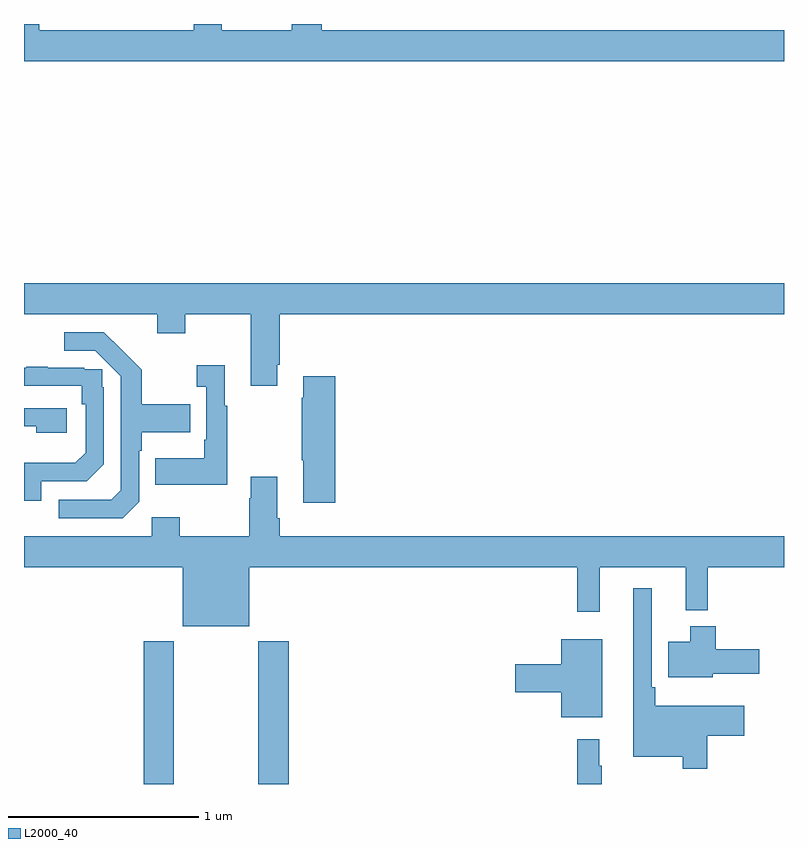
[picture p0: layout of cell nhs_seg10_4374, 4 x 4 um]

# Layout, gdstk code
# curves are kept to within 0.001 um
import gdstk
lib = gdstk.Library(unit=1e-6, precision=1e-09)
def R(c, l, rs):  # rectangles x0, y0, x1, y1
    for r in rs: c.add(gdstk.rectangle(r[:2], r[2:], *l))
def P(c, l, *ps):  # polygons
    for p in ps: c.add(gdstk.Polygon(p, *l))
L2000_40 = (2000, 40)

nhs_seg10_4374 = lib.new_cell('nhs_seg10_4374')
R(nhs_seg10_4374, L2000_40, [(357.629,1308.5,357.789,1309.252), (358.234,1308.5,358.394,1309.252)])
P(nhs_seg10_4374, L2000_40, [(361,1312.468),(358.568,1312.468),(358.568,1312.5),(358.408,1312.5),(358.408,1312.468),(358.041,1312.468),(358.041,1312.5),(357.894,1312.5),(357.894,1312.468),(357.081,1312.468),(357.081,1312.5),(357,1312.5),(357,1312.304),(361,1312.304)],
  [(358.333,1310.707),(358.346,1310.707),(358.346,1310.972),(361,1310.972),(361,1311.136),(357,1311.136),(357,1310.972),(357.701,1310.972),(357.701,1310.873),(357.849,1310.873),(357.849,1310.972),(358.193,1310.972),(358.193,1310.595),(358.333,1310.595)],
  [(357.606,1309.986),(357.606,1310.255),(357.619,1310.255),(357.619,1310.351),(357.875,1310.351),(357.875,1310.499),(357.619,1310.499),(357.619,1310.681),(357.421,1310.877),(357.213,1310.877),(357.213,1310.781),(357.374,1310.781),(357.51,1310.645),(357.51,1310.046),(357.459,1309.995),(357.183,1309.995),(357.183,1309.899),(357.519,1309.899)],
  [(358.069,1310.491),(358.057,1310.491),(358.057,1310.704),(357.909,1310.704),(357.909,1310.591),(357.96,1310.591),(357.96,1310.311),(357.948,1310.311),(357.948,1310.215),(357.691,1310.215),(357.691,1310.075),(358.069,1310.075)],
  [(357.09,1310.094),(357.33,1310.094),(357.42,1310.184),(357.42,1310.588),(357.413,1310.588),(357.413,1310.684),(357.317,1310.684),(357.317,1310.691),(357.125,1310.691),(357.125,1310.696),(357.013,1310.696),(357.013,1310.691),(357,1310.691),(357,1310.595),(357.304,1310.595),(357.304,1310.498),(357.324,1310.498),(357.324,1310.244),(357.271,1310.191),(357,1310.191),(357,1309.992),(357.09,1309.992)],
  [(358.637,1310.647),(358.469,1310.647),(358.469,1310.534),(358.462,1310.534),(358.462,1310.203),(358.469,1310.203),(358.469,1309.98),(358.637,1309.98)],
  [(357.226,1310.478),(357,1310.478),(357,1310.382),(357.065,1310.382),(357.065,1310.348),(357.226,1310.348)],
  [(358.186,1309.64),(359.911,1309.64),(359.911,1309.407),(360.029,1309.407),(360.029,1309.64),(360.482,1309.64),(360.482,1309.415),(360.599,1309.415),(360.599,1309.64),(361,1309.64),(361,1309.804),(358.346,1309.804),(358.346,1309.9),(358.333,1309.9),(358.333,1310.116),(358.193,1310.116),(358.193,1310.003),(358.186,1310.003),(358.186,1309.804),(357.819,1309.804),(357.819,1309.903),(357.672,1309.903),(357.672,1309.804),(357,1309.804),(357,1309.64),(357.836,1309.64),(357.836,1309.331),(358.186,1309.331)],
  [(360.596,1308.755),(360.79,1308.755),(360.79,1308.913),(360.323,1308.913),(360.323,1309.009),(360.303,1309.009),(360.303,1309.531),(360.206,1309.531),(360.206,1308.644),(360.468,1308.644),(360.468,1308.579),(360.596,1308.579)],
  [(360.624,1309.079),(360.871,1309.079),(360.871,1309.209),(360.641,1309.209),(360.641,1309.33),(360.506,1309.33),(360.506,1309.249),(360.392,1309.249),(360.392,1309.061),(360.624,1309.061)],
  [(360.043,1309.261),(359.828,1309.261),(359.828,1309.13),(359.586,1309.13),(359.586,1308.983),(359.828,1308.983),(359.828,1308.851),(360.043,1308.851)],
  [(360.04,1308.596),(360.028,1308.596),(360.028,1308.736),(359.911,1308.736),(359.911,1308.5),(360.04,1308.5)])

lib.write_gds('nhs_seg10_4374.gds')
